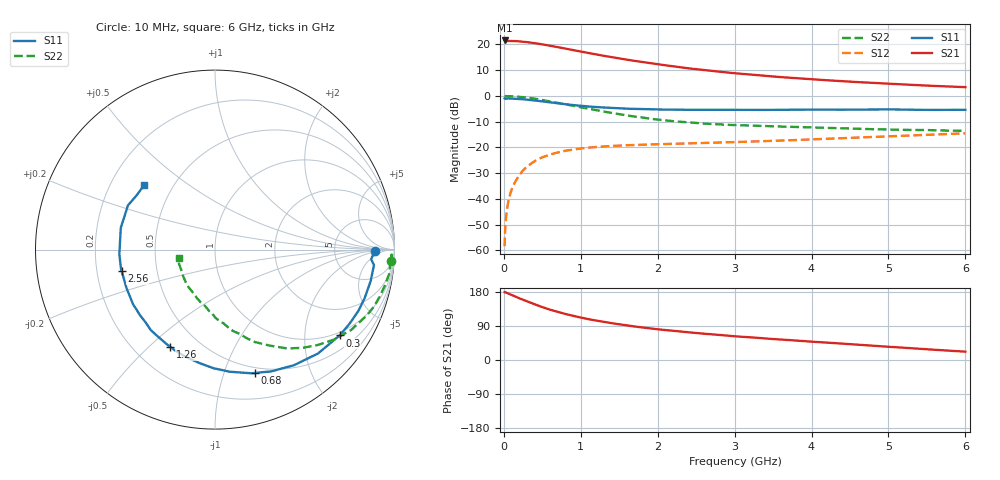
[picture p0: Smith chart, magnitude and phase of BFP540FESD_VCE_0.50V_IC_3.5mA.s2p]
! Infineon Technologies  Discrete & RF Semiconductors
! BFP540FESD
! VCE = 0.50 V,  IC =  3.5 mA
! Common Emitter S-Parameters:  Nov 2015
# GHz  S  MA  R  50
!  f  S11  S21  S12  S22
! GHz  MAG  ANG  MAG  ANG  MAG  ANG  MAG  ANG
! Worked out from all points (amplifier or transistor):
!   210 points, 10 MHz to 6 GHz, reference 50 ohm
!   highest |S21| = 21.5 dB at 10 MHz (marker M1)
!   |S21| within 3 dB of that: start of sweep to 773.1 MHz
!   unconditionally stable (mu >= 1): 2.994 GHz to end of sweep
!   at 185 MHz: K = 0.06, MSG = 26.4 dB, |S12| = -31.6 dB
!   at 1.52 GHz: K = 0.54, MSG = 16.9 dB, |S12| = -19.3 dB
!   at 6 GHz: K = 1.35, MAG = 5.4 dB, |S12| = -14.6 dB
!   S11 on the Smith chart (normalised r, x): 10 MHz: 17, -1; 300 MHz: 0.90, -2.96; 680 MHz: 0.44, -1.28; 1.26 GHz: 0.35, -0.58; 2.56 GHz: 0.31, -0.10; 6 GHz: 0.34, +0.35
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0.01  0.8889 -0.4  11.85 179.1  0.0012 86.1  0.9847 -3.6
0.02  0.8718 -3.6  11.44 178.7  0.003 89.9  0.9846 -1.6
0.04  0.8837 -4.9  11.55 177.0  0.0061 87.2  0.9818 -3.2
0.08  0.8858 -9.0  11.59 173.5  0.012 84.9  0.9794 -6.5
0.15  0.8766 -18.0  11.56 167.5  0.0217 80.0  0.9674 -12.0
0.2  0.8687 -23.1  11.36 162.9  0.0284 77.4  0.9544 -15.9
0.3  0.8428 -34.6  11 154.6  0.0418 71.4  0.9214 -23.5
0.4  0.8153 -45.2  10.52 146.8  0.0536 65.4  0.8806 -30.6
0.5  0.7801 -55.7  9.997 139.5  0.0638 60.0  0.8302 -37.2
0.68  0.7229 -71.9  8.909 128.4  0.0778 52.4  0.7412 -47.3
0.8  0.6851 -83.2  8.251 121.4  0.0856 47.8  0.6827 -53.8
0.9  0.661 -90.7  7.707 116.4  0.0901 44.4  0.6372 -58.1
1.02  0.6338 -99.1  7.126 111.2  0.0956 41.6  0.5898 -63.1
1.26  0.5962 -114.8  6.117 102.1  0.1026 36.5  0.5054 -72.0
1.46  0.5755 -126.4  5.437 95.3  0.1068 33.3  0.4495 -79.2
1.62  0.5597 -134.2  4.963 90.7  0.1096 31.4  0.41 -84.0
2.02  0.541 -151.4  4.053 80.6  0.1146 28.2  0.3421 -95.7
2.56  0.5341 -167.1  3.202 70.1  0.1205 26.1  0.2915 -109.4
3.1  0.5321 -179.1  2.66 61.3  0.1273 25.6  0.2663 -118.7
4.1  0.5378 165.5  2.043 47.2  0.1438 25.0  0.2402 -134.1
5.1  0.5408 151.7  1.687 33.7  0.1652 22.4  0.2189 -149.8
6  0.534 137.8  1.47 22.0  0.1866 19.3  0.2079 -167.6
